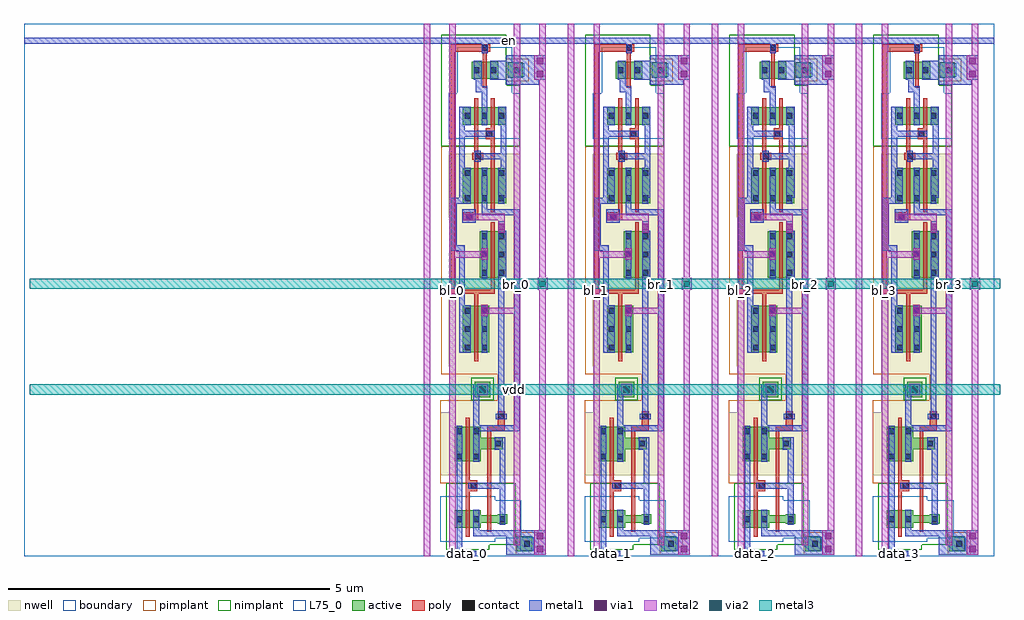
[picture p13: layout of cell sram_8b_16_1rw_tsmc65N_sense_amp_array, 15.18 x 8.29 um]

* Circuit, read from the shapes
.subckt sram_8b_16_1rw_tsmc65N_sense_amp_array bl_0 bl_1 bl_2 bl_3 br_0 br_1 br_2 br_3 data_0 data_1 data_2 data_3 en gnd vdd
M1 gnd n1 data_0 gnd nfet w=0.27u l=0.06u
M2 n2 n3 n4 gnd nfet w=0.27u l=0.06u
M3 gnd en n2 gnd nfet w=0.27u l=0.06u
M4 n1 n3 gnd gnd nfet w=0.12u l=0.06u
M5 n3 n4 n2 gnd nfet w=0.27u l=0.06u
M6 gnd n5 data_1 gnd nfet w=0.27u l=0.06u
M7 n6 n7 n8 gnd nfet w=0.27u l=0.06u
M8 gnd en n6 gnd nfet w=0.27u l=0.06u
M9 n5 n7 gnd gnd nfet w=0.12u l=0.06u
M10 n7 n8 n6 gnd nfet w=0.27u l=0.06u
M11 gnd n9 data_2 gnd nfet w=0.27u l=0.06u
M12 n10 n11 n12 gnd nfet w=0.27u l=0.06u
M13 gnd en n10 gnd nfet w=0.27u l=0.06u
M14 n9 n11 gnd gnd nfet w=0.12u l=0.06u
M15 n11 n12 n10 gnd nfet w=0.27u l=0.06u
M16 gnd n13 data_3 gnd nfet w=0.27u l=0.06u
M17 n14 n15 n16 gnd nfet w=0.27u l=0.06u
M18 gnd en n14 gnd nfet w=0.27u l=0.06u
M19 n13 n15 gnd gnd nfet w=0.12u l=0.06u
M20 n15 n16 n14 gnd nfet w=0.27u l=0.06u
M21 vdd n1 data_0 vdd pfet w=0.54u l=0.06u
M22 br_0 en n4 vdd pfet w=0.72u l=0.06u
M23 vdd n3 n4 vdd pfet w=0.54u l=0.06u
M24 n1 n3 vdd vdd pfet w=0.18u l=0.06u
M25 n3 en bl_0 vdd pfet w=0.72u l=0.06u
M26 n3 n4 vdd vdd pfet w=0.54u l=0.06u
M27 vdd n5 data_1 vdd pfet w=0.54u l=0.06u
M28 br_1 en n8 vdd pfet w=0.72u l=0.06u
M29 vdd n7 n8 vdd pfet w=0.54u l=0.06u
M30 n5 n7 vdd vdd pfet w=0.18u l=0.06u
M31 n7 en bl_1 vdd pfet w=0.72u l=0.06u
M32 n7 n8 vdd vdd pfet w=0.54u l=0.06u
M33 vdd n9 data_2 vdd pfet w=0.54u l=0.06u
M34 br_2 en n12 vdd pfet w=0.72u l=0.06u
M35 vdd n11 n12 vdd pfet w=0.54u l=0.06u
M36 n9 n11 vdd vdd pfet w=0.18u l=0.06u
M37 n11 en bl_2 vdd pfet w=0.72u l=0.06u
M38 n11 n12 vdd vdd pfet w=0.54u l=0.06u
M39 vdd n13 data_3 vdd pfet w=0.54u l=0.06u
M40 br_3 en n16 vdd pfet w=0.72u l=0.06u
M41 vdd n15 n16 vdd pfet w=0.54u l=0.06u
M42 n13 n15 vdd vdd pfet w=0.18u l=0.06u
M43 n15 en bl_3 vdd pfet w=0.72u l=0.06u
M44 n15 n16 vdd vdd pfet w=0.54u l=0.06u
.ends

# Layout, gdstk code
import gdstk
lib = gdstk.Library(unit=1e-6, precision=1e-09)
def R(c, l, rs):  # rectangles x0, y0, x1, y1
    for r in rs: c.add(gdstk.rectangle(r[:2], r[2:], *l))
def A(c, l, x, y, w, h, nx, ny, dx, dy):  # array of equal rectangles
    R(c, l, [(x+i*dx, y+j*dy, x+i*dx+w, y+j*dy+h) for i in range(nx) for j in range(ny)])
def P(c, l, *ps):  # polygons
    for p in ps: c.add(gdstk.Polygon(p, *l))
nwell = (3, 0)
active = (6, 0)
poly = (17, 0)
pimplant = (25, 0)
nimplant = (26, 0)
contact = (30, 0)
metal1 = (31, 0)
metal2 = (32, 0)
metal3 = (33, 0)
via1 = (51, 0)
via2 = (52, 0)
L75_0 = (75, 0)
boundary = (108, 0)

sense_amp = lib.new_cell('sense_amp')
R(sense_amp, nwell, [(0.51,1.26,1.36,2.24), (0.645,1.26,1.75,6.26), (0.92,1.445,1.695,2.065), (0.93,2.36,1.4,2.83), (0.64,2.955,1.49,4.115), (0.9,4.115,1.75,5.275), (0.64,5.275,1.49,6.255), (1.05,5.275,1.75,6.255)])
R(sense_amp, active, [(1.7,0.08,1.94,0.315), (1.77,0.11,1.94,0.28), (0.73,0.445,0.905,0.715), (0.905,0.445,0.965,0.715), (0.965,0.445,1.14,0.715), (1.4,0.505,1.55,0.655), (1.14,0.52,1.24,0.64), (1.24,0.52,1.3,0.64), (1.3,0.52,1.55,0.64), (0.73,1.48,0.905,2.02), (0.905,1.48,0.965,2.02), (0.965,1.48,1.14,2.02), (1.14,1.665,1.24,1.845), (1.24,1.665,1.3,1.845), (1.3,1.665,1.475,1.845), (1.045,2.475,1.285,2.715), (1.09,2.52,1.24,2.67), (0.86,3.175,1.035,3.895), (1.035,3.175,1.095,3.895), (1.095,3.175,1.27,3.895), (1.12,4.335,1.295,5.055), (1.295,4.335,1.355,5.055), (1.355,4.335,1.53,5.055), (0.86,5.495,1.035,6.035), (1.035,5.495,1.095,6.035), (1.095,5.495,1.27,6.035), (1.27,5.495,1.295,6.035), (1.295,5.495,1.355,6.035), (1.355,5.495,1.53,6.035), (0.86,6.715,1.035,6.985), (1.035,6.715,1.095,6.985), (1.095,6.715,1.27,6.985), (1.27,6.715,1.295,6.985), (1.295,6.715,1.355,6.985), (1.355,6.715,1.53,6.985), (0.995,7.425,1.17,7.695), (1.17,7.425,1.23,7.695), (1.23,7.425,1.405,7.695), (1.555,7.445,1.79,7.68), (1.62,7.475,1.79,7.645)])
R(sense_amp, poly, [(0.905,0.305,0.965,0.445), (1.24,0.38,1.3,0.52), (0.905,0.445,0.965,0.715), (1.24,0.52,1.3,0.64), (1.24,0.64,1.3,0.78), (0.905,0.715,0.965,0.855), (1.24,0.78,1.3,1.525), (0.905,0.855,0.965,1.34), (0.96,1.015,0.975,1.185), (0.97,1.015,1.08,1.185), (0.905,1.34,0.965,1.48), (0.905,1.48,0.965,2.02), (1.24,1.525,1.3,1.665), (1.24,1.665,1.3,1.845), (1.24,1.845,1.3,1.985), (1.4,1.955,1.51,2.09), (0.905,2.02,0.965,2.16), (1.4,2.09,1.51,2.26), (1.035,3.035,1.095,3.175), (1.035,3.175,1.095,3.895), (1.035,3.895,1.095,4.035), (1.295,4.195,1.355,4.335), (1.295,4.335,1.355,5.055), (1.295,5.055,1.355,5.195), (0.865,5.225,1.095,5.355), (0.865,5.225,1.035,5.335), (1.035,5.355,1.095,5.495), (1.295,5.355,1.355,5.495), (1.035,5.495,1.095,6.035), (1.295,5.495,1.355,6.035), (1.035,5.69,1.095,6.575), (1.295,5.69,1.355,6.575), (1.035,6.035,1.095,6.175), (1.295,6.035,1.355,6.175), (1.005,6.165,1.175,6.275), (1.215,6.485,1.325,6.655), (1.035,6.575,1.095,6.715), (1.295,6.575,1.355,6.715), (1.035,6.715,1.095,6.985), (1.295,6.715,1.355,6.985), (1.035,6.985,1.095,7.125), (1.295,6.985,1.355,7.125), (1.17,7.285,1.23,7.425), (1.17,7.425,1.23,7.695), (1.17,7.695,1.23,7.835), (0.72,7.85,1.145,7.9), (1.115,7.85,1.285,7.96), (1.17,7.9,1.255,7.96)])
P(sense_amp, poly, [(0.95,5.23),(1.095,5.23),(1.095,5.355),(0.995,5.355),(0.995,5.33),(0.95,5.33)],
  [(1.095,3.975),(1.095,4.145),(0.73,4.145),(0.73,7.9),(1.17,7.9),(1.17,7.735),(1.23,7.735),(1.23,7.96),(0.67,7.96),(0.67,4.085),(1.035,4.085),(1.035,3.975)],
  [(1.035,4.085),(1.355,4.085),(1.355,4.195),(1.295,4.195),(1.295,4.145),(1.035,4.145)],
  [(1.24,1.955),(1.485,1.955),(1.485,2.175),(1.425,2.175),(1.425,2.015),(1.24,2.015)])
R(sense_amp, pimplant, [(1.68,0.025,2.035,0.375), (1.75,0.09,1.96,0.3), (0.51,1.14,1.66,2.36), (0.6,1.14,1.27,2.36), (1.4,1.14,1.66,4.235), (1.01,1.325,1.605,2.185), (0.51,2.36,1.66,2.425), (0.52,2.835,1.75,6.375), (0.73,2.835,1.4,4.235), (0.99,3.995,1.66,5.395), (0.73,5.155,1.4,6.375), (1.14,5.155,1.66,6.375), (1.535,7.39,1.885,7.74), (1.6,7.455,1.81,7.665)])
R(sense_amp, nimplant, [(0.6,0.105,1.27,1.055), (1.01,0.18,1.68,0.98), (0.6,0.98,1.68,1.14), (0.99,2.425,1.34,2.775), (1.07,2.5,1.26,2.69), (0.52,6.375,1.74,7.325), (0.73,6.375,1.4,7.325), (1.14,6.375,1.66,7.325), (0.865,7.085,1.535,8.035), (0.52,7.325,1.145,8.11), (1.145,7.745,1.535,8.11)])
A(sense_amp, contact, 0.89, 3.205, 0.09, 0.09, 1, 3, 0, 0.285)
A(sense_amp, contact, 1.15, 3.205, 0.09, 0.09, 1, 3, 0, 0.285)
A(sense_amp, contact, 1.15, 4.365, 0.09, 0.09, 1, 3, 0, 0.285)
A(sense_amp, contact, 1.41, 4.365, 0.09, 0.09, 1, 3, 0, 0.285)
A(sense_amp, contact, 0.89, 5.525, 0.09, 0.09, 3, 2, 0.26, 0.39)
A(sense_amp, contact, 0.89, 6.805, 0.09, 0.09, 3, 1, 0.26, 0)
R(sense_amp, contact, [(1.81,0.15,1.9,0.24), (0.76,0.535,0.85,0.625), (1.02,0.535,1.11,0.625), (1.43,0.535,1.52,0.625), (0.98,1.055,1.07,1.145), (0.76,1.51,0.85,1.6), (1.02,1.51,1.11,1.6), (1.355,1.71,1.445,1.8), (0.76,1.9,0.85,1.99), (1.02,1.9,1.11,1.99), (1.41,2.13,1.5,2.22), (1.12,2.55,1.21,2.64), (0.905,5.235,0.995,5.325), (1.045,6.175,1.135,6.265), (1.225,6.525,1.315,6.615), (1.025,7.515,1.115,7.605), (1.285,7.515,1.375,7.605), (1.66,7.515,1.75,7.605), (1.155,7.86,1.245,7.95)])
A(sense_amp, metal1, 0.89, 5.485, 0.09, 0.56, 3, 1, 0.26, 0)
A(sense_amp, metal1, 0.89, 6.705, 0.09, 0.29, 3, 1, 0.26, 0)
R(sense_amp, metal1, [(0.76,0,0.85,0.435), (0.805,0,1.065,0.09), (0.805,0,1.065,0.09), (0.975,0,1.065,0.09), (1.535,0.025,2.05,0.37), (1.97,0.025,2.15,0.405), (1.75,0.09,1.96,0.3), (0.76,0.435,0.85,0.725), (1.02,0.435,1.11,0.725), (1.43,0.495,1.52,0.665), (1.43,0.665,1.52,1.145), (0.76,0.725,0.85,1.47), (0.94,1.055,1.11,1.145), (0.76,1.47,0.85,2.03), (1.02,1.47,1.11,2.03), (1.355,1.655,1.445,1.855), (1.02,2.03,1.11,2.68), (1.37,2.13,1.54,2.22), (1.41,2.215,1.5,5.055), (1.08,2.51,1.25,2.68), (1.08,2.51,1.25,2.68), (1.12,2.54,1.17,2.63), (1.12,2.55,1.21,2.64), (0.89,3.165,0.98,3.905), (1.15,3.165,1.24,3.905), (1.145,3.735,1.245,3.915), (1.15,4.325,1.24,5.065), (1.41,4.325,1.5,5.065), (1.445,4.325,1.535,5.065), (1.145,4.61,1.245,4.79), (1.41,5.035,1.51,5.215), (1.41,5.065,1.5,5.155), (0.85,5.185,1.06,5.395), (0.865,5.23,1.035,5.33), (0.87,5.23,1.05,5.33), (0.95,5.23,0.96,5.33), (0.8,5.575,0.89,6.995), (1.445,5.575,1.535,6.995), (1.045,6.135,1.135,6.305), (1.12,6.175,1.47,6.265), (0.89,6.525,1.24,6.615), (1.185,6.525,1.355,6.615), (1.535,7.33,2.05,7.79), (1.97,7.41,2.15,7.79), (1.025,7.415,1.115,7.705), (1.285,7.415,1.825,7.705), (1.285,7.415,1.375,7.705), (1.6,7.455,1.81,7.665), (1.155,7.82,1.245,7.99), (0.34,7.975,0.43,8.065), (0.34,7.975,2.04,8.065), (0.34,7.975,2.04,8.065)])
P(sense_amp, metal1, [(0.89,3.165),(0.89,4.84),(0.76,4.84),(0.76,5.485),(0.89,5.485),(0.89,5.575),(0.67,5.575),(0.67,4.75),(0.8,4.75),(0.8,3.165)],
  [(0.99,1.055),(1.52,1.055),(1.52,1.855),(1.445,1.855),(1.445,1.765),(1.43,1.765),(1.43,1.145),(0.99,1.145)],
  [(1.02,0.46),(1.02,0.315),(2.145,0.315),(2.145,0.37),(2.055,0.37),(2.055,0.405),(1.11,0.405),(1.11,0.46)],
  [(1.06,7.705),(1.06,7.22),(1.15,7.22),(1.15,6.995),(1.24,6.995),(1.24,7.31),(1.15,7.31),(1.15,7.705)],
  [(1.11,1.95),(1.745,1.95),(1.745,5.395),(1.24,5.395),(1.24,5.485),(1.15,5.485),(1.15,5.305),(1.655,5.305),(1.655,2.04),(1.11,2.04)])
R(sense_amp, metal2, [(0.25,0,0.35,8.285), (0.65,0,0.75,8.285), (0.65,0,0.75,8.285), (1.97,0.025,2.15,0.405), (1.65,0.17,1.75,8.285), (1.65,0.17,1.75,8.285), (2.05,0.195,2.15,8.285), (2.05,0.195,2.15,8.285), (1.145,3.735,1.245,3.915), (1.145,4.61,1.245,4.79), (1.41,5.035,1.51,5.215), (0.87,5.23,1.05,5.33), (1.97,7.41,2.15,7.79), (0.65,8.185,0.75,8.285), (1.65,8.185,1.75,8.285), (2.06,8.195,2.15,8.285)])
P(sense_amp, metal2, [(0.65,4.645),(1.245,4.645),(1.245,4.7),(1.145,4.7),(1.145,4.745),(0.65,4.745)],
  [(0.865,5.23),(1.41,5.23),(1.41,5.125),(1.51,5.125),(1.51,5.33),(0.865,5.33)],
  [(1.145,3.825),(1.145,3.77),(1.74,3.77),(1.74,3.87),(1.245,3.87),(1.245,3.825)])
R(sense_amp, via1, [(2.01,0.065,2.11,0.165), (2.01,0.265,2.11,0.365), (1.145,3.775,1.245,3.875), (1.145,4.65,1.245,4.75), (1.41,5.075,1.51,5.175), (0.91,5.23,1.01,5.33), (2.01,7.45,2.11,7.55), (2.01,7.65,2.11,7.75)])
R(sense_amp, L75_0, [(1.75,0.09,1.96,0.3), (0.51,0.225,1.36,0.935), (0.92,0.285,1.77,0.875), (0.64,6.495,1.49,7.205), (1.05,6.495,1.75,7.205), (0.775,7.205,1.625,7.915), (1.6,7.455,1.81,7.665)])
R(sense_amp, boundary, [(0,0,2.4,8.285)])
sense_amp.add(gdstk.Label('[@instanceName]', (1.27,0.58), layer=127, texttype=0))
sense_amp.add(gdstk.Label('nch\n0.12/0.06\n', (1.24,0.52), layer=127, texttype=0))
sense_amp.add(gdstk.Label('D', (1.475,0.58), layer=127, texttype=0))
sense_amp.add(gdstk.Label('[@instanceName]', (0.935,1.75), layer=127, texttype=0))
sense_amp.add(gdstk.Label('pch\n0.54/0.06\n', (0.965,1.48), layer=127, texttype=0))
sense_amp.add(gdstk.Label('D', (0.805,1.75), layer=127, texttype=0))
sense_amp.add(gdstk.Label('S', (1.065,1.75), layer=127, texttype=0))
sense_amp.add(gdstk.Label('[@instanceName]', (1.325,5.765), layer=127, texttype=0))
sense_amp.add(gdstk.Label('pch\n0.54/0.06\n', (1.295,5.495), layer=127, texttype=0))
sense_amp.add(gdstk.Label('D', (1.455,5.765), layer=127, texttype=0))
sense_amp.add(gdstk.Label('[@instanceName]', (1.325,6.85), layer=127, texttype=0))
sense_amp.add(gdstk.Label('nch\n0.27/0.06\n', (1.295,6.715), layer=127, texttype=0))
sense_amp.add(gdstk.Label('D', (1.455,6.85), layer=127, texttype=0))
sense_amp.add(gdstk.Label('[@instanceName]', (1.065,5.765), layer=127, texttype=0))
sense_amp.add(gdstk.Label('pch\n0.54/0.06\n', (1.095,5.495), layer=127, texttype=0))
sense_amp.add(gdstk.Label('D', (0.935,5.765), layer=127, texttype=0))
sense_amp.add(gdstk.Label('S', (1.195,5.765), layer=127, texttype=0))
sense_amp.add(gdstk.Label('[@instanceName]', (1.065,6.85), layer=127, texttype=0))
sense_amp.add(gdstk.Label('nch\n0.27/0.06\n', (1.095,6.715), layer=127, texttype=0))
sense_amp.add(gdstk.Label('D', (0.935,6.85), layer=127, texttype=0))
sense_amp.add(gdstk.Label('S', (1.195,6.85), layer=127, texttype=0))
sense_amp.add(gdstk.Label('[@instanceName]', (1.2,7.56), layer=127, texttype=0))
sense_amp.add(gdstk.Label('nch\n0.27/0.06\n', (1.23,7.425), layer=127, texttype=0))
sense_amp.add(gdstk.Label('D', (1.07,7.56), layer=127, texttype=0))
sense_amp.add(gdstk.Label('S', (1.33,7.56), layer=127, texttype=0))
sense_amp.add(gdstk.Label('[@instanceName]', (1.27,1.755), layer=127, texttype=0))
sense_amp.add(gdstk.Label('pch\n0.18/0.06\n', (1.24,1.665), layer=127, texttype=0))
sense_amp.add(gdstk.Label('D', (1.4,1.755), layer=127, texttype=0))
sense_amp.add(gdstk.Label('[@instanceName]', (0.935,0.58), layer=127, texttype=0))
sense_amp.add(gdstk.Label('nch\n0.27/0.06\n', (0.965,0.445), layer=127, texttype=0))
sense_amp.add(gdstk.Label('D', (0.805,0.58), layer=127, texttype=0))
sense_amp.add(gdstk.Label('S', (1.065,0.58), layer=127, texttype=0))
sense_amp.add(gdstk.Label('[@instanceName]', (1.065,3.535), layer=127, texttype=0))
sense_amp.add(gdstk.Label('pch\n0.72/0.06\n', (1.035,3.175), layer=127, texttype=0))
sense_amp.add(gdstk.Label('D', (1.195,3.535), layer=127, texttype=0))
sense_amp.add(gdstk.Label('S', (0.935,3.535), layer=127, texttype=0))
sense_amp.add(gdstk.Label('[@instanceName]', (1.325,4.695), layer=127, texttype=0))
sense_amp.add(gdstk.Label('pch\n0.72/0.06\n', (1.355,4.335), layer=127, texttype=0))
sense_amp.add(gdstk.Label('D', (1.195,4.695), layer=127, texttype=0))
sense_amp.add(gdstk.Label('S', (1.455,4.695), layer=127, texttype=0))
sense_amp.add(gdstk.Label('& SerialNumber 000000', (1.24,0.52), layer=63, texttype=63))
sense_amp.add(gdstk.Label('& Distributor TSMC', (1.24,0.52), layer=63, texttype=63))
sense_amp.add(gdstk.Label('& Metric 1', (1.24,0.52), layer=63, texttype=63))
sense_amp.add(gdstk.Label('& PDK Version "tsmcN65_DTQ::RWg\\177;oCnm~vw{v}v\\202_20120815"', (1.24,0.52), layer=63, texttype=63))
sense_amp.add(gdstk.Label('& PDK TechNode "CRN65LP"', (1.24,0.52), layer=63, texttype=63))
sense_amp.add(gdstk.Label('& Product    tsmcN65_PDK', (1.24,0.52), layer=63, texttype=63))
sense_amp.add(gdstk.Label('& Vendor     Taiwan Semiconductor manufacturing Corp.', (1.24,0.52), layer=63, texttype=63))
sense_amp.add(gdstk.Label('& SerialNumber 000000', (0.965,1.48), layer=63, texttype=63))
sense_amp.add(gdstk.Label('& Distributor TSMC', (0.965,1.48), layer=63, texttype=63))
sense_amp.add(gdstk.Label('& Metric 1', (0.965,1.48), layer=63, texttype=63))
sense_amp.add(gdstk.Label('& PDK Version "tsmcN65_DTQ::RWg\\177;oCnm~vw{v}v\\202_20120815"', (0.965,1.48), layer=63, texttype=63))
sense_amp.add(gdstk.Label('& PDK TechNode "CRN65LP"', (0.965,1.48), layer=63, texttype=63))
sense_amp.add(gdstk.Label('& Product    tsmcN65_PDK', (0.965,1.48), layer=63, texttype=63))
sense_amp.add(gdstk.Label('& Vendor     Taiwan Semiconductor manufacturing Corp.', (0.965,1.48), layer=63, texttype=63))
sense_amp.add(gdstk.Label('& SerialNumber 000000', (1.295,5.495), layer=63, texttype=63))
sense_amp.add(gdstk.Label('& Distributor TSMC', (1.295,5.495), layer=63, texttype=63))
sense_amp.add(gdstk.Label('& Metric 1', (1.295,5.495), layer=63, texttype=63))
sense_amp.add(gdstk.Label('& PDK Version "tsmcN65_DTQ::RWg\\177;oCnm~vw{v}v\\202_20120815"', (1.295,5.495), layer=63, texttype=63))
sense_amp.add(gdstk.Label('& PDK TechNode "CRN65LP"', (1.295,5.495), layer=63, texttype=63))
sense_amp.add(gdstk.Label('& Product    tsmcN65_PDK', (1.295,5.495), layer=63, texttype=63))
sense_amp.add(gdstk.Label('& Vendor     Taiwan Semiconductor manufacturing Corp.', (1.295,5.495), layer=63, texttype=63))
sense_amp.add(gdstk.Label('& SerialNumber 000000', (1.295,6.715), layer=63, texttype=63))
sense_amp.add(gdstk.Label('& Distributor TSMC', (1.295,6.715), layer=63, texttype=63))
sense_amp.add(gdstk.Label('& Metric 1', (1.295,6.715), layer=63, texttype=63))
sense_amp.add(gdstk.Label('& PDK Version "tsmcN65_DTQ::RWg\\177;oCnm~vw{v}v\\202_20120815"', (1.295,6.715), layer=63, texttype=63))
sense_amp.add(gdstk.Label('& PDK TechNode "CRN65LP"', (1.295,6.715), layer=63, texttype=63))
sense_amp.add(gdstk.Label('& Product    tsmcN65_PDK', (1.295,6.715), layer=63, texttype=63))
sense_amp.add(gdstk.Label('& Vendor     Taiwan Semiconductor manufacturing Corp.', (1.295,6.715), layer=63, texttype=63))
sense_amp.add(gdstk.Label('& SerialNumber 000000', (1.095,5.495), layer=63, texttype=63))
sense_amp.add(gdstk.Label('& Distributor TSMC', (1.095,5.495), layer=63, texttype=63))
sense_amp.add(gdstk.Label('& Metric 1', (1.095,5.495), layer=63, texttype=63))
sense_amp.add(gdstk.Label('& PDK Version "tsmcN65_DTQ::RWg\\177;oCnm~vw{v}v\\202_20120815"', (1.095,5.495), layer=63, texttype=63))
sense_amp.add(gdstk.Label('& PDK TechNode "CRN65LP"', (1.095,5.495), layer=63, texttype=63))
sense_amp.add(gdstk.Label('& Product    tsmcN65_PDK', (1.095,5.495), layer=63, texttype=63))
sense_amp.add(gdstk.Label('& Vendor     Taiwan Semiconductor manufacturing Corp.', (1.095,5.495), layer=63, texttype=63))
sense_amp.add(gdstk.Label('& SerialNumber 000000', (1.095,6.715), layer=63, texttype=63))
sense_amp.add(gdstk.Label('& Distributor TSMC', (1.095,6.715), layer=63, texttype=63))
sense_amp.add(gdstk.Label('& Metric 1', (1.095,6.715), layer=63, texttype=63))
sense_amp.add(gdstk.Label('& PDK Version "tsmcN65_DTQ::RWg\\177;oCnm~vw{v}v\\202_20120815"', (1.095,6.715), layer=63, texttype=63))
sense_amp.add(gdstk.Label('& PDK TechNode "CRN65LP"', (1.095,6.715), layer=63, texttype=63))
sense_amp.add(gdstk.Label('& Product    tsmcN65_PDK', (1.095,6.715), layer=63, texttype=63))
sense_amp.add(gdstk.Label('& Vendor     Taiwan Semiconductor manufacturing Corp.', (1.095,6.715), layer=63, texttype=63))
sense_amp.add(gdstk.Label('& SerialNumber 000000', (1.23,7.425), layer=63, texttype=63))
sense_amp.add(gdstk.Label('& Distributor TSMC', (1.23,7.425), layer=63, texttype=63))
sense_amp.add(gdstk.Label('& Metric 1', (1.23,7.425), layer=63, texttype=63))
sense_amp.add(gdstk.Label('& PDK Version "tsmcN65_DTQ::RWg\\177;oCnm~vw{v}v\\202_20120815"', (1.23,7.425), layer=63, texttype=63))
sense_amp.add(gdstk.Label('& PDK TechNode "CRN65LP"', (1.23,7.425), layer=63, texttype=63))
sense_amp.add(gdstk.Label('& Product    tsmcN65_PDK', (1.23,7.425), layer=63, texttype=63))
sense_amp.add(gdstk.Label('& Vendor     Taiwan Semiconductor manufacturing Corp.', (1.23,7.425), layer=63, texttype=63))
sense_amp.add(gdstk.Label('& SerialNumber 000000', (1.24,1.665), layer=63, texttype=63))
sense_amp.add(gdstk.Label('& Distributor TSMC', (1.24,1.665), layer=63, texttype=63))
sense_amp.add(gdstk.Label('& Metric 1', (1.24,1.665), layer=63, texttype=63))
sense_amp.add(gdstk.Label('& PDK Version "tsmcN65_DTQ::RWg\\177;oCnm~vw{v}v\\202_20120815"', (1.24,1.665), layer=63, texttype=63))
sense_amp.add(gdstk.Label('& PDK TechNode "CRN65LP"', (1.24,1.665), layer=63, texttype=63))
sense_amp.add(gdstk.Label('& Product    tsmcN65_PDK', (1.24,1.665), layer=63, texttype=63))
sense_amp.add(gdstk.Label('& Vendor     Taiwan Semiconductor manufacturing Corp.', (1.24,1.665), layer=63, texttype=63))
sense_amp.add(gdstk.Label('& SerialNumber 000000', (0.965,0.445), layer=63, texttype=63))
sense_amp.add(gdstk.Label('& Distributor TSMC', (0.965,0.445), layer=63, texttype=63))
sense_amp.add(gdstk.Label('& Metric 1', (0.965,0.445), layer=63, texttype=63))
sense_amp.add(gdstk.Label('& PDK Version "tsmcN65_DTQ::RWg\\177;oCnm~vw{v}v\\202_20120815"', (0.965,0.445), layer=63, texttype=63))
sense_amp.add(gdstk.Label('& PDK TechNode "CRN65LP"', (0.965,0.445), layer=63, texttype=63))
sense_amp.add(gdstk.Label('& Product    tsmcN65_PDK', (0.965,0.445), layer=63, texttype=63))
sense_amp.add(gdstk.Label('& Vendor     Taiwan Semiconductor manufacturing Corp.', (0.965,0.445), layer=63, texttype=63))
sense_amp.add(gdstk.Label('& SerialNumber 000000', (1.035,3.175), layer=63, texttype=63))
sense_amp.add(gdstk.Label('& Distributor TSMC', (1.035,3.175), layer=63, texttype=63))
sense_amp.add(gdstk.Label('& Metric 1', (1.035,3.175), layer=63, texttype=63))
sense_amp.add(gdstk.Label('& PDK Version "tsmcN65_DTQ::RWg\\177;oCnm~vw{v}v\\202_20120815"', (1.035,3.175), layer=63, texttype=63))
sense_amp.add(gdstk.Label('& PDK TechNode "CRN65LP"', (1.035,3.175), layer=63, texttype=63))
sense_amp.add(gdstk.Label('& Product    tsmcN65_PDK', (1.035,3.175), layer=63, texttype=63))
sense_amp.add(gdstk.Label('& Vendor     Taiwan Semiconductor manufacturing Corp.', (1.035,3.175), layer=63, texttype=63))
sense_amp.add(gdstk.Label('& SerialNumber 000000', (1.355,4.335), layer=63, texttype=63))
sense_amp.add(gdstk.Label('& Distributor TSMC', (1.355,4.335), layer=63, texttype=63))
sense_amp.add(gdstk.Label('& Metric 1', (1.355,4.335), layer=63, texttype=63))
sense_amp.add(gdstk.Label('& PDK Version "tsmcN65_DTQ::RWg\\177;oCnm~vw{v}v\\202_20120815"', (1.355,4.335), layer=63, texttype=63))
sense_amp.add(gdstk.Label('& PDK TechNode "CRN65LP"', (1.355,4.335), layer=63, texttype=63))
sense_amp.add(gdstk.Label('& Product    tsmcN65_PDK', (1.355,4.335), layer=63, texttype=63))
sense_amp.add(gdstk.Label('& Vendor     Taiwan Semiconductor manufacturing Corp.', (1.355,4.335), layer=63, texttype=63))
sense_amp.add(gdstk.Label('vdd', (1.165,2.595), layer=31, texttype=0))
sense_amp.add(gdstk.Label('en', (0.385,8.02), layer=31, texttype=0))
sense_amp.add(gdstk.Label('dout', (1.02,0.045), layer=31, texttype=0))
sense_amp.add(gdstk.Label('gnd', (2.105,8.24), layer=32, texttype=0))
sense_amp.add(gdstk.Label('br', (1.7,8.235), layer=32, texttype=0))
sense_amp.add(gdstk.Label('bl', (0.7,8.235), layer=32, texttype=0))
sense_amp.add(gdstk.Label('bl', (0.7,4.142), layer=32, texttype=0))
sense_amp.add(gdstk.Label('br', (1.7,4.228), layer=32, texttype=0))
sense_amp.add(gdstk.Label('dout', (0.935,0.045), layer=31, texttype=0))
sense_amp.add(gdstk.Label('en', (1.19,8.02), layer=31, texttype=0))
sense_amp.add(gdstk.Label('vdd', (1.165,2.595), layer=31, texttype=0))
sense_amp.add(gdstk.Label('gnd', (2.1,4.24), layer=32, texttype=0))

sram_8b_16_1rw_tsmc65n_c = lib.new_cell('sram_8b_16_1rw_tsmc65N_contact_17')
R(sram_8b_16_1rw_tsmc65n_c, metal1, [(0,0.015,0.17,0.155)])
R(sram_8b_16_1rw_tsmc65n_c, metal2, [(0.01,0,0.16,0.17)])
R(sram_8b_16_1rw_tsmc65n_c, via1, [(0.04,0.04,0.13,0.13)])
R(sram_8b_16_1rw_tsmc65n_c, boundary, [(0,0,0.17,0.17)])

c_sram_8b_16_1rw_tsmc65n_c = lib.new_cell('sram_8b_16_1rw_tsmc65N_contact_18')
R(c_sram_8b_16_1rw_tsmc65n_c, metal2, [(0.01,0,0.17,0.18)])
R(c_sram_8b_16_1rw_tsmc65n_c, metal3, [(0,0.01,0.18,0.17)])
R(c_sram_8b_16_1rw_tsmc65n_c, via2, [(0.04,0.04,0.14,0.14)])
R(c_sram_8b_16_1rw_tsmc65n_c, boundary, [(0,0,0.18,0.18)])

sram_8b_16_1rw_tsmc65n_s = lib.new_cell('sram_8b_16_1rw_tsmc65N_sense_amp_array')
A(sram_8b_16_1rw_tsmc65n_s, metal1, 6.77, 0, 0.26, 0.09, 4, 1, 2.24, 0)
A(sram_8b_16_1rw_tsmc65n_s, metal1, 7.085, 2.525, 0.09, 0.14, 4, 1, 2.24, 0)
A(sram_8b_16_1rw_tsmc65n_s, metal1, 7.11, 7.975, 0.09, 0.09, 4, 1, 2.24, 0)
R(sram_8b_16_1rw_tsmc65n_s, metal1, [(0,7.975,15.085,8.065)])
A(sram_8b_16_1rw_tsmc65n_s, metal2, 6.615, 0, 0.1, 8.285, 4, 1, 2.24, 0)
A(sram_8b_16_1rw_tsmc65n_s, metal2, 7.615, 0.17, 0.1, 8.115, 4, 1, 2.24, 0)
A(sram_8b_16_1rw_tsmc65n_s, metal2, 7.05, 2.545, 0.16, 0.1, 4, 1, 2.24, 0)
A(sram_8b_16_1rw_tsmc65n_s, metal2, 7.985, 4.19, 0.16, 0.1, 4, 1, 2.24, 0)
R(sram_8b_16_1rw_tsmc65n_s, metal3, [(0.09,2.515,15.175,2.675), (0.09,4.16,15.175,4.32)])
R(sram_8b_16_1rw_tsmc65n_s, boundary, [(0,0,15.085,8.285)])
sram_8b_16_1rw_tsmc65n_s.add(gdstk.Reference(sense_amp, (5.965,0)))
sram_8b_16_1rw_tsmc65n_s.add(gdstk.Reference(sense_amp, (8.205,0)))
sram_8b_16_1rw_tsmc65n_s.add(gdstk.Reference(sense_amp, (10.445,0)))
sram_8b_16_1rw_tsmc65n_s.add(gdstk.Reference(sense_amp, (12.685,0)))
sram_8b_16_1rw_tsmc65n_s.add(gdstk.Reference(sram_8b_16_1rw_tsmc65n_c, (7.045,2.51)))
sram_8b_16_1rw_tsmc65n_s.add(gdstk.Reference(c_sram_8b_16_1rw_tsmc65n_c, (7.04,2.505)))
sram_8b_16_1rw_tsmc65n_s.add(gdstk.Reference(sram_8b_16_1rw_tsmc65n_c, (9.285,2.51)))
sram_8b_16_1rw_tsmc65n_s.add(gdstk.Reference(c_sram_8b_16_1rw_tsmc65n_c, (9.28,2.505)))
sram_8b_16_1rw_tsmc65n_s.add(gdstk.Reference(sram_8b_16_1rw_tsmc65n_c, (11.525,2.51)))
sram_8b_16_1rw_tsmc65n_s.add(gdstk.Reference(c_sram_8b_16_1rw_tsmc65n_c, (11.52,2.505)))
sram_8b_16_1rw_tsmc65n_s.add(gdstk.Reference(sram_8b_16_1rw_tsmc65n_c, (13.765,2.51)))
sram_8b_16_1rw_tsmc65n_s.add(gdstk.Reference(c_sram_8b_16_1rw_tsmc65n_c, (13.76,2.505)))
sram_8b_16_1rw_tsmc65n_s.add(gdstk.Reference(c_sram_8b_16_1rw_tsmc65n_c, (7.975,4.15)))
sram_8b_16_1rw_tsmc65n_s.add(gdstk.Reference(c_sram_8b_16_1rw_tsmc65n_c, (10.215,4.15)))
sram_8b_16_1rw_tsmc65n_s.add(gdstk.Reference(c_sram_8b_16_1rw_tsmc65n_c, (12.455,4.15)))
sram_8b_16_1rw_tsmc65n_s.add(gdstk.Reference(c_sram_8b_16_1rw_tsmc65n_c, (14.695,4.15)))
sram_8b_16_1rw_tsmc65n_s.add(gdstk.Label('bl_0', (6.665,4.142), layer=32, texttype=0))
sram_8b_16_1rw_tsmc65n_s.add(gdstk.Label('br_0', (7.665,4.228), layer=32, texttype=0))
sram_8b_16_1rw_tsmc65n_s.add(gdstk.Label('data_0', (6.9,0.045), layer=31, texttype=0))
sram_8b_16_1rw_tsmc65n_s.add(gdstk.Label('bl_1', (8.905,4.142), layer=32, texttype=0))
sram_8b_16_1rw_tsmc65n_s.add(gdstk.Label('br_1', (9.905,4.228), layer=32, texttype=0))
sram_8b_16_1rw_tsmc65n_s.add(gdstk.Label('data_1', (9.14,0.045), layer=31, texttype=0))
sram_8b_16_1rw_tsmc65n_s.add(gdstk.Label('bl_2', (11.145,4.142), layer=32, texttype=0))
sram_8b_16_1rw_tsmc65n_s.add(gdstk.Label('br_2', (12.145,4.228), layer=32, texttype=0))
sram_8b_16_1rw_tsmc65n_s.add(gdstk.Label('data_2', (11.38,0.045), layer=31, texttype=0))
sram_8b_16_1rw_tsmc65n_s.add(gdstk.Label('bl_3', (13.385,4.142), layer=32, texttype=0))
sram_8b_16_1rw_tsmc65n_s.add(gdstk.Label('br_3', (14.385,4.228), layer=32, texttype=0))
sram_8b_16_1rw_tsmc65n_s.add(gdstk.Label('data_3', (13.62,0.045), layer=31, texttype=0))
sram_8b_16_1rw_tsmc65n_s.add(gdstk.Label('vdd', (7.632,2.595), layer=33, texttype=0))
sram_8b_16_1rw_tsmc65n_s.add(gdstk.Label('gnd', (7.632,4.24), layer=33, texttype=0))
sram_8b_16_1rw_tsmc65n_s.add(gdstk.Label('en', (7.542,8.02), layer=31, texttype=0))

lib.write_gds('sram_8b_16_1rw_tsmc65N_sense_amp_array.gds')
